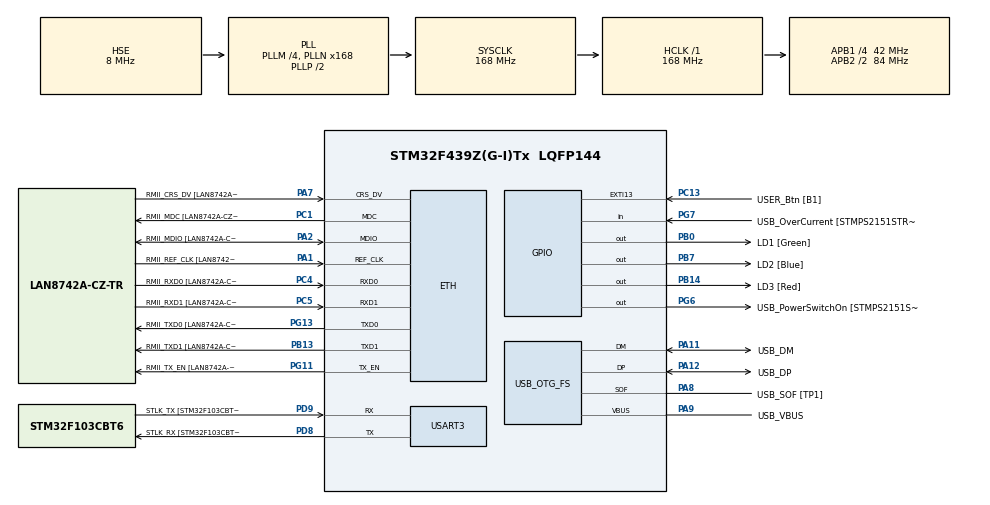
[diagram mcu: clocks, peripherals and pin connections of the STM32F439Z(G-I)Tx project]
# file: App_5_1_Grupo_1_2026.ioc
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ETH.MediaInterface=HAL_ETH_RMII_MODE
ETH.PHY_Name=LAN8742A_PHY_ADDRESS
ETH.PHY_Value=0
ETH.PhyAddress=0
Mcu.Family=STM32F4
Mcu.Name=STM32F439Z(G-I)Tx
Mcu.Package=LQFP144
NVIC.PriorityGroup=NVIC_PRIORITYGROUP_4
PA1.GPIO_Label=RMII_REF_CLK [LAN8742A-CZ-TR_REFCLK0]
PA1.Mode=RMII
PA1.Signal=ETH_REF_CLK
PA10.GPIO_Label=USB_ID
PA10.Signal=USB_OTG_FS_ID
PA11.GPIO_Label=USB_DM
PA11.Mode=Device_Only
PA11.Signal=USB_OTG_FS_DM
PA12.GPIO_Label=USB_DP
PA12.Mode=Device_Only
PA12.Signal=USB_OTG_FS_DP
PA13.GPIO_Label=TMS
PA13.Mode=Serial_Wire
PA13.Signal=SYS_JTMS-SWDIO
PA14.GPIO_Label=TCK
PA14.Mode=Serial_Wire
PA14.Signal=SYS_JTCK-SWCLK
PA2.GPIO_Label=RMII_MDIO [LAN8742A-CZ-TR_MDIO]
PA2.Mode=RMII
PA2.Signal=ETH_MDIO
PA7.GPIO_Label=RMII_CRS_DV [LAN8742A-CZ-TR_CRS_DV]
PA7.Mode=RMII
PA7.Signal=ETH_CRS_DV
PA8.GPIO_Label=USB_SOF [TP1]
PA8.Mode=Activate_SOF_FS
PA8.Signal=USB_OTG_FS_SOF
PA9.GPIO_Label=USB_VBUS
PA9.Mode=Activate_VBUS
PA9.Signal=USB_OTG_FS_VBUS
PB0.GPIO_Label=LD1 [Green]
PB0.Signal=GPIO_Output
PB13.GPIO_Label=RMII_TXD1 [LAN8742A-CZ-TR_TXD1]
PB13.Mode=RMII
PB13.Signal=ETH_TXD1
PB14.GPIO_Label=LD3 [Red]
PB14.Signal=GPIO_Output
PB7.GPIO_Label=LD2 [Blue]
PB7.Signal=GPIO_Output
PC1.GPIO_Label=RMII_MDC [LAN8742A-CZ-TR_MDC]
PC1.Mode=RMII
PC1.Signal=ETH_MDC
PC13.GPIO_Label=USER_Btn [B1]
PC13.Signal=GPXTI13
PC14/OSC32_IN.Mode=LSE-External-Oscillator
PC14/OSC32_IN.Signal=RCC_OSC32_IN
PC15/OSC32_OUT.Mode=LSE-External-Oscillator
PC15/OSC32_OUT.Signal=RCC_OSC32_OUT
PC4.GPIO_Label=RMII_RXD0 [LAN8742A-CZ-TR_RXD0]
PC4.Mode=RMII
PC4.Signal=ETH_RXD0
PC5.GPIO_Label=RMII_RXD1 [LAN8742A-CZ-TR_RXD1]
PC5.Mode=RMII
PC5.Signal=ETH_RXD1
PD8.GPIO_Label=STLK_RX [STM32F103CBT6_PA3]
PD8.Mode=Asynchronous
PD8.Signal=USART3_TX
PD9.GPIO_Label=STLK_TX [STM32F103CBT6_PA2]
PD9.Mode=Asynchronous
PD9.Signal=USART3_RX
PG11.GPIO_Label=RMII_TX_EN [LAN8742A-CZ-TR_TXEN]
PG11.Mode=RMII
PG11.Signal=ETH_TX_EN
PG13.GPIO_Label=RMII_TXD0 [LAN8742A-CZ-TR_TXD0]
PG13.Mode=RMII
PG13.Signal=ETH_TXD0
PG6.GPIO_Label=USB_PowerSwitchOn [STMPS2151STR_EN]
PG6.Signal=GPIO_Output
PG7.GPIO_Label=USB_OverCurrent [STMPS2151STR_FAULT]
PG7.Signal=GPIO_Input
PH0/OSC_IN.GPIO_Label=MCO [STM32F103CBT6_PA8]
PH0/OSC_IN.Mode=HSE-External-Clock-Source
PH0/OSC_IN.Signal=RCC_OSC_IN
PH1/OSC_OUT.Mode=HSE-External-Clock-Source
PH1/OSC_OUT.Signal=RCC_OSC_OUT
ProjectManager.HeapSize=0x200
ProjectManager.StackSize=0x400
ProjectManager.TargetToolchain=STM32CubeIDE
RCC.48MHZClocksFreq_Value=48000000
RCC.AHBFreq_Value=168000000
RCC.APB1CLKDivider=RCC_HCLK_DIV4
RCC.APB1Freq_Value=42000000
RCC.APB1TimFreq_Value=84000000
RCC.APB2CLKDivider=RCC_HCLK_DIV2
RCC.APB2Freq_Value=84000000
RCC.APB2TimCLKDivider=2
RCC.APB2TimFreq_Value=168000000
RCC.CortexFreq_Value=168000000
RCC.HCLKFreq_Value=168000000
RCC.HSE_VALUE=8000000
RCC.HSI_VALUE=16000000
RCC.PLLM=4
RCC.PLLMUL=RCC_PLL_MUL9
RCC.PLLN=168
RCC.PLLQ=7
RCC.PRESCALERUSB=RCC_USBCLKSOURCE_PLL_DIV1_5
RCC.SYSCLKFreq_VALUE=168000000
RCC.SYSCLKSource=RCC_SYSCLKSOURCE_PLLCLK
RCC.SYSCLKSourceVirtual=RCC_SYSCLKSOURCE_PLLCLK
RCC.USBFreq_Value=48000000
RCC.VCOOutputFreq_Value=336000000
USART3.VirtualMode=VM_ASYNC
USB_OTG_FS.VirtualMode=Device_Only
board=NUCLEO-F439ZI

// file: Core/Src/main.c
/* USER CODE BEGIN Header */
/**
  ******************************************************************************
  * @file           : main.c
  * @brief          : Main program body
  ******************************************************************************
  */
/* USER CODE END Header */
#include "main.h"
#include "string.h"

/* USER CODE BEGIN Includes */
#include "API_GPIO.h"
#include "API_delay.h" // Nuestro módulo de retardos
#include "API_debounce.h" // Nuestro módulo anti-rebote
/* USER CODE END Includes */

/* USER CODE BEGIN PD */
#define Cantidad_Led 3
/* USER CODE END PD */

/* USER CODE BEGIN PV */
Led_t Leds[Cantidad_Led] =
{
    {GPIOB, GPIO_PIN_0}, {GPIOB, GPIO_PIN_7}, {GPIOB, GPIO_PIN_14}
};
/* USER CODE END PV */

ETH_TxPacketConfig TxConfig;
ETH_DMADescTypeDef  DMARxDscrTab[ETH_RX_DESC_CNT];
ETH_DMADescTypeDef  DMATxDscrTab[ETH_TX_DESC_CNT];

ETH_HandleTypeDef heth;
UART_HandleTypeDef huart3;
PCD_HandleTypeDef hpcd_USB_OTG_FS;

void SystemClock_Config(void);
static void MX_ETH_Init(void);
static void MX_USART3_UART_Init(void);
static void MX_USB_OTG_FS_PCD_Init(void);

int main(void)
{
  HAL_Init();
  SystemClock_Config();
  MX_GPIO_Init();
  MX_ETH_Init();
  MX_USART3_UART_Init();
  MX_USB_OTG_FS_PCD_Init();

  /* USER CODE BEGIN 2 */

  // 1. Inicializamos la máquina de estados del anti-rebote
  debounceFSM_init();

  // 2. Declaramos y configuramos nuestro retardo modular de 200 ms
  delay_t retardoSecuencia;
  delayInit(&retardoSecuencia, 200);

  uint8_t indice_led = 0;
  uint8_t estado_paso = 0; // 0 = Encender LED, 1 = Apagar LED

  /* USER CODE END 2 */

  /* Infinite loop */
  /* USER CODE BEGIN WHILE */
  while (1)
  {
      debounceFSM_update();

      if (delayRead(&retardoSecuencia) == true)
      {
          if (estado_paso == 0)
          {
              // Encendemos el LED actual
              PrenderLed(Leds[indice_led]);
              estado_paso = 1; // El próximo toque de 200ms toca apagarlo
          }
          else
          {
              // Apagamos el LED actual
              ApagarLed(Leds[indice_led]);
              estado_paso = 0; // El próximo toque de 200ms toca prender el siguiente

              // Avanzamos al siguiente LED del vector
              indice_led++;
              if (indice_led >= Cantidad_Led)
              {
                  indice_led = 0; // Vuelve al LED1 al terminar la ronda
              }
          }
      }
  }
  /* USER CODE END WHILE */
}

void SystemClock_Config(void)
{
  RCC_OscInitTypeDef RCC_OscInitStruct = {0};
  RCC_ClkInitTypeDef RCC_ClkInitStruct = {0};

  __HAL_RCC_PWR_CLK_ENABLE();
  __HAL_PWR_VOLTAGESCALING_CONFIG(PWR_REGULATOR_VOLTAGE_SCALE1);

  RCC_OscInitStruct.OscillatorType = RCC_OSCILLATORTYPE_HSE;
  RCC_OscInitStruct.HSEState = RCC_HSE_BYPASS;
  RCC_OscInitStruct.PLL.PLLState = RCC_PLL_ON;
  RCC_OscInitStruct.PLL.PLLSource = RCC_PLLSOURCE_HSE;
  RCC_OscInitStruct.PLL.PLLM = 4;
  RCC_OscInitStruct.PLL.PLLN = 168;
  RCC_OscInitStruct.PLL.PLLP = RCC_PLLP_DIV2;
  RCC_OscInitStruct.PLL.PLLQ = 7;
  if (HAL_RCC_OscConfig(&RCC_OscInitStruct) != HAL_OK)
  {
    Error_Handler();
  }

  RCC_ClkInitStruct.ClockType = RCC_CLOCKTYPE_HCLK|RCC_CLOCKTYPE_SYSCLK
                              |RCC_CLOCKTYPE_PCLK1|RCC_CLOCKTYPE_PCLK2;
  RCC_ClkInitStruct.SYSCLKSource = RCC_SYSCLKSOURCE_PLLCLK;
  RCC_ClkInitStruct.AHBCLKDivider = RCC_SYSCLK_DIV1;
  RCC_ClkInitStruct.APB1CLKDivider = RCC_HCLK_DIV4;
  RCC_ClkInitStruct.APB2CLKDivider = RCC_HCLK_DIV2;

  if (HAL_RCC_ClockConfig(&RCC_ClkInitStruct, FLASH_LATENCY_5) != HAL_OK)
  {
    Error_Handler();
  }
}

static void MX_ETH_Init(void)
{
   static uint8_t MACAddr[6];
  heth.Instance = ETH;
  MACAddr[0] = 0x00;
  MACAddr[1] = 0x80;
  MACAddr[2] = 0xE1;
  MACAddr[3] = 0x00;
  MACAddr[4] = 0x00;
  MACAddr[5] = 0x00;
  heth.Init.MACAddr = &MACAddr[0];
  heth.Init.MediaInterface = HAL_ETH_RMII_MODE;
  heth.Init.TxDesc = DMATxDscrTab;
  heth.Init.RxDesc = DMARxDscrTab;
  heth.Init.RxBuffLen = 1524;

  if (HAL_ETH_Init(&heth) != HAL_OK)
  {
    Error_Handler();
  }

  memset(&TxConfig, 0 , sizeof(ETH_TxPacketConfig));
  TxConfig.Attributes = ETH_TX_PACKETS_FEATURES_CSUM | ETH_TX_PACKETS_FEATURES_CRCPAD;
  TxConfig.ChecksumCtrl = ETH_CHECKSUM_IPHDR_PAYLOAD_INSERT_PHDR_CALC;
  TxConfig.CRCPadCtrl = ETH_CRC_PAD_INSERT;
}

static void MX_USART3_UART_Init(void)
{
  huart3.Instance = USART3;
  huart3.Init.BaudRate = 115200;
  huart3.Init.WordLength = UART_WORDLENGTH_8B;
  huart3.Init.StopBits = UART_STOPBITS_1;
  huart3.Init.Parity = UART_PARITY_NONE;
  huart3.Init.Mode = UART_MODE_TX_RX;
  huart3.Init.HwFlowCtl = UART_HWCONTROL_NONE;
  huart3.Init.OverSampling = UART_OVERSAMPLING_16;
  if (HAL_UART_Init(&huart3) != HAL_OK)
  {
    Error_Handler();
  }
}

static void MX_USB_OTG_FS_PCD_Init(void)
{
  hpcd_USB_OTG_FS.Instance = USB_OTG_FS;
  hpcd_USB_OTG_FS.Init.dev_endpoints = 4;
  hpcd_USB_OTG_FS.Init.speed = PCD_SPEED_FULL;
  hpcd_USB_OTG_FS.Init.dma_enable = DISABLE;
  hpcd_USB_OTG_FS.Init.phy_itface = PCD_PHY_EMBEDDED;
  hpcd_USB_OTG_FS.Init.Sof_enable = ENABLE;
  hpcd_USB_OTG_FS.Init.low_power_enable = DISABLE;
  hpcd_USB_OTG_FS.Init.lpm_enable = DISABLE;
  hpcd_USB_OTG_FS.Init.vbus_sensing_enable = ENABLE;
  hpcd_USB_OTG_FS.Init.use_dedicated_ep1 = DISABLE;
  if (HAL_PCD_Init(&hpcd_USB_OTG_FS) != HAL_OK)
  {
    Error_Handler();
  }
}

void Error_Handler(void)
{
  __disable_irq();
  while (1)
  {
  }
}
